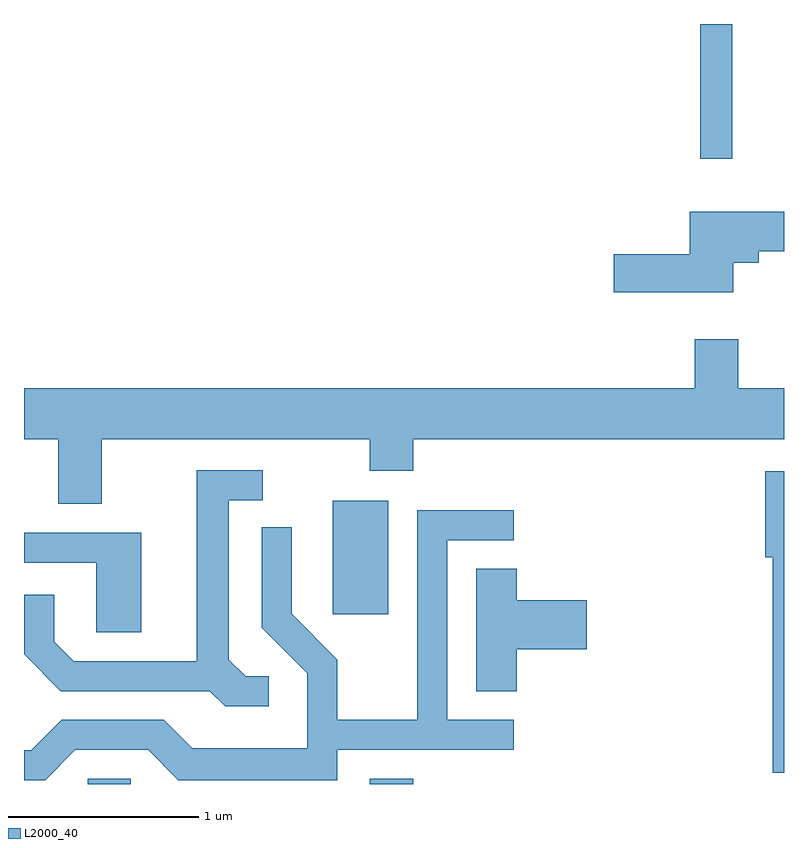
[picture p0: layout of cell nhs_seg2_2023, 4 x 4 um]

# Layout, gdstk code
import gdstk
lib = gdstk.Library(unit=1e-6, precision=1e-09)
def R(c, l, rs):  # rectangles x0, y0, x1, y1
    for r in rs: c.add(gdstk.rectangle(r[:2], r[2:], *l))
def P(c, l, *ps):  # polygons
    for p in ps: c.add(gdstk.Polygon(p, *l))
L2000_40 = (2000, 40)

nhs_seg2_2023 = lib.new_cell('nhs_seg2_2023')
R(nhs_seg2_2023, L2000_40, [(243.946,1079.802,244.174,1079.829), (245.431,1079.802,245.659,1079.829), (245.236,1080.696,245.529,1081.294), (247.171,1083.093,247.339,1083.802)])
P(nhs_seg2_2023, L2000_40, [(247.344,1082.546),(247.479,1082.546),(247.479,1082.606),(247.611,1082.606),(247.611,1082.814),(247.116,1082.814),(247.116,1082.589),(246.716,1082.589),(246.716,1082.391),(247.344,1082.391)],
  [(244.019,1081.616),(245.431,1081.616),(245.431,1081.451),(245.659,1081.451),(245.659,1081.616),(247.611,1081.616),(247.611,1081.884),(247.369,1081.884),(247.369,1082.144),(247.141,1082.144),(247.141,1081.884),(243.611,1081.884),(243.611,1081.616),(243.791,1081.616),(243.791,1081.276),(244.019,1081.276)],
  [(244.898,1080.369),(244.777,1080.369),(244.689,1080.457),(244.689,1081.296),(244.868,1081.296),(244.868,1081.454),(244.521,1081.454),(244.521,1080.449),(243.872,1080.449),(243.769,1080.552),(243.769,1080.798),(243.611,1080.798),(243.611,1080.484),(243.804,1080.291),(244.589,1080.291),(244.669,1080.211),(244.898,1080.211)],
  [(247.611,1081.449),(247.511,1081.449),(247.511,1080.996),(247.551,1080.996),(247.551,1079.861),(247.611,1079.861)],
  [(243.882,1079.981),(244.264,1079.981),(244.424,1079.821),(245.259,1079.821),(245.259,1079.981),(246.188,1079.981),(246.188,1080.139),(245.839,1080.139),(245.839,1081.086),(246.188,1081.086),(246.188,1081.244),(245.681,1081.244),(245.681,1080.139),(245.259,1080.139),(245.259,1080.457),(245.019,1080.697),(245.019,1081.153),(244.861,1081.153),(244.861,1080.624),(245.101,1080.384),(245.101,1079.989),(244.497,1079.989),(244.347,1080.139),(243.809,1080.139),(243.649,1079.979),(243.611,1079.979),(243.611,1079.821),(243.722,1079.821)],
  [(244.229,1081.124),(243.611,1081.124),(243.611,1080.966),(243.991,1080.966),(243.991,1080.601),(244.229,1080.601)],
  [(246.204,1080.511),(246.574,1080.511),(246.574,1080.769),(246.204,1080.769),(246.204,1080.934),(245.991,1080.934),(245.991,1080.291),(246.204,1080.291)])

lib.write_gds('nhs_seg2_2023.gds')
